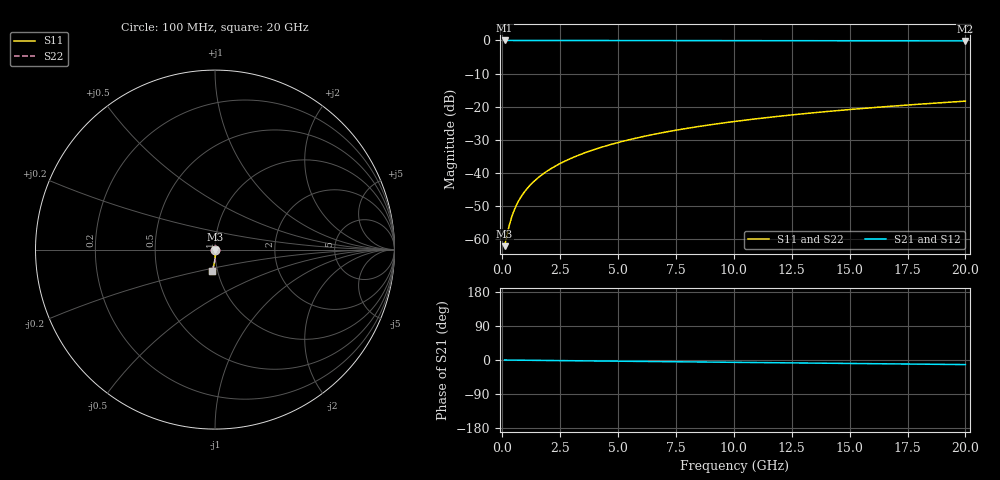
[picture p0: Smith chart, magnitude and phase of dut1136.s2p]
! Touchstone file exported from HFSS 2026.1.0
!  File:  C:/ffzhzh/LocalFiles/Ansys_Project_Files/temp_train_BSMRDL_1136_1783175377_51560.aedt
!  Generated:  10:30:39 PM Jul  4, 2026
!  Design:  BSMRDL
!  Project:  temp_train_BSMRDL_1136_1783175377_51560
! Variables:
!  h_bsmrdl = 5.75um
!  h_ox = 20um
!  h_rdl = 5um
!  h_sub = 80um
!  h_tmrdl = 5um
!  h_tsv = 80um
!  h_via = 3um
!  l_bsmrdl = 167.33um
!  l_sub = 567.33um
!  l_tmrdl = 200um
!  m_sub = 200um
!  pitch = 20.93um
!  r_tsv = 6um
!  s_tmrdl = 10um
!  w_bsmrdl = 19.66um
!  w_sub = 500um
!  w_tmrdl = 12um
!  x_tsv_center1 = 206um
!  x_tsv_center2 = 392.99um
!  x_tsv_center3 = 604.99um
!  x_tsv_center4 = 791.98um
!  x_tsv_center5 = 1003.98um
!  x_tsv_center6 = 1190.97um
# GHz S MA R 50.000000
! Terminal data exported
! Port[1] = BSM_RDL1_1_T1
! Port[2] = BSM_RDL1_1_T2
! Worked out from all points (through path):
!   200 points, 100 MHz to 20 GHz, reference 50 ohm
!   highest |S21| = -0.01 dB at 100 MHz (marker M1); lowest = -0.1 dB at 20 GHz (marker M2)
!   group delay of S21, straight-line fit = 1.67 ps
!   lowest |S11| = -62.2 dB at 100 MHz (marker M3), VSWR 1.00, Z = 50.1 - j0.0331 ohm
!   |S11| at or under -10 dB: start of sweep to end of sweep
!   |S22| runs from -62.2 to -18.4 dB; largest |S21 - S12| = 4.3e-15
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0.1  0.0007765 -25.2  0.9993 -0.1  0.9993 -0.1  0.0007765 -25.2
! Gamma 0 0 0 0
! Port Impedance 50 0 50 0
0.2  0.001131 -41.6  0.9992 -0.1  0.9992 -0.1  0.001131 -41.6
0.3  0.001595 -51.9  0.999 -0.2  0.999 -0.2  0.001595 -51.9
0.4  0.002108 -58.8  0.9989 -0.3  0.9989 -0.3  0.002108 -58.8
0.5  0.002641 -63.7  0.9988 -0.3  0.9988 -0.3  0.002641 -63.7
0.6  0.003182 -67.3  0.9987 -0.4  0.9987 -0.4  0.003182 -67.3
0.8  0.004275 -72.1  0.9986 -0.5  0.9986 -0.5  0.004275 -72.1
1.1  0.005924 -76.3  0.9985 -0.7  0.9985 -0.7  0.005924 -76.3
1.5  0.008141 -79.4  0.9983 -1.0  0.9983 -1.0  0.008141 -79.4
1.8  0.00982 -80.8  0.9982 -1.2  0.9982 -1.2  0.00982 -80.8
2.1  0.01151 -81.8  0.998 -1.4  0.998 -1.4  0.01151 -81.8
2.7  0.01495 -83.2  0.9977 -1.7  0.9977 -1.7  0.01495 -83.2
3.5  0.01964 -84.5  0.9972 -2.2  0.9972 -2.2  0.01964 -84.5
4.2  0.02381 -85.4  0.9967 -2.7  0.9967 -2.7  0.02381 -85.4
5  0.02864 -86.3  0.9962 -3.2  0.9962 -3.2  0.02864 -86.3
5.9  0.03413 -87.2  0.9956 -3.7  0.9956 -3.7  0.03413 -87.2
6.8  0.03965 -88.1  0.995 -4.2  0.995 -4.2  0.03965 -88.1
8.3  0.0489 -89.5  0.994 -5.1  0.994 -5.1  0.0489 -89.5
10.1  0.06002 -91.0  0.9928 -6.2  0.9928 -6.2  0.06002 -91.0
13.4  0.0804 -93.6  0.9903 -8.2  0.9903 -8.2  0.0804 -93.6
16.7  0.1007 -96.0  0.9875 -10.1  0.9875 -10.1  0.1007 -96.0
20  0.1208 -98.2  0.9844 -12.1  0.9844 -12.1  0.1208 -98.2
